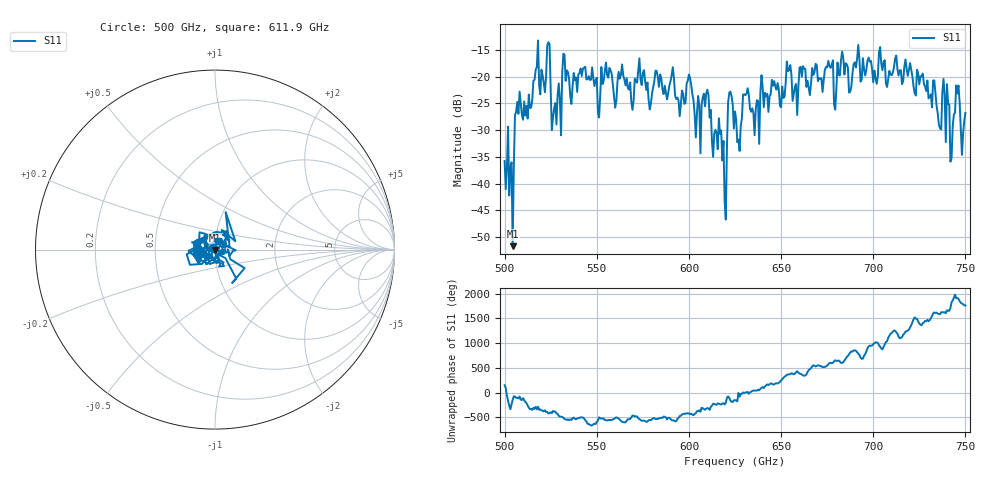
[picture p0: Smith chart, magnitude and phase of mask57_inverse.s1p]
!Created with skrf (http://scikit-rf.org).
# GHz S MA R 50.0
!freq magS11 angS11
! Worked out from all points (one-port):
!   401 points, 500 GHz to 750 GHz, reference 50 ohm
!   lowest |S11| = -51.7 dB at 504.4 GHz (marker M1), VSWR 1.01, Z = 49.8 - j0.145 ohm
!   |S11| at or under -10 dB: start of sweep to end of sweep
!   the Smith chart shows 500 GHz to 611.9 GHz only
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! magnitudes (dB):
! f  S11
! 500 GHz  -35.8
! 504.4 GHz  -51.7
! 506.9 GHz  -24.7
! 513.8 GHz  -25.9
! 516.9 GHz  -18.7
! 523.8 GHz  -13.6
! 526.9 GHz  -26.0
! 531.2 GHz  -19.3
! 562.5 GHz  -20.4
! 579.4 GHz  -25.0
! 590.6 GHz  -19.8
! 593.8 GHz  -23.9
! 600 GHz  -19.6
! 605 GHz  -23.6
! 609.4 GHz  -23.2
! 617.5 GHz  -30.1
! 619.4 GHz  -43.3
! 622.5 GHz  -22.8
! 625 GHz  -26.5
! 656.2 GHz  -24.6
! 687.5 GHz  -22.9
! 691.2 GHz  -16.7
! 718.8 GHz  -19.9
! 735.6 GHz  -29.0
! 738.8 GHz  -23.5
! 743.1 GHz  -29.3
! 745.6 GHz  -23.2
! 750 GHz  -26.8
